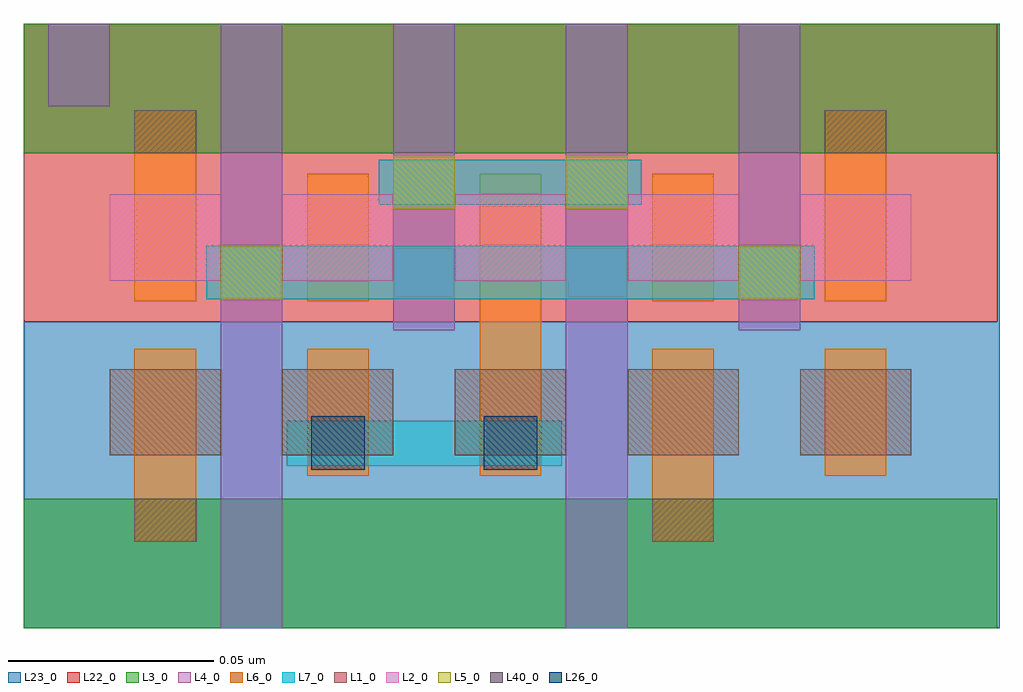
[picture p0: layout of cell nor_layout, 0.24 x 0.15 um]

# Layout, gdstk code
import gdstk
lib = gdstk.Library(unit=1e-6, precision=2.5e-10)
def R(c, l, rs):  # rectangles x0, y0, x1, y1
    for r in rs: c.add(gdstk.rectangle(r[:2], r[2:], *l))
def A(c, l, x, y, w, h, nx, ny, dx, dy):  # array of equal rectangles
    R(c, l, [(x+i*dx, y+j*dy, x+i*dx+w, y+j*dy+h) for i in range(nx) for j in range(ny)])
def P(c, l, *ps):  # polygons
    for p in ps: c.add(gdstk.Polygon(p, *l))
L1_0 = (1, 0)
L2_0 = (2, 0)
L3_0 = (3, 0)
L4_0 = (4, 0)
L5_0 = (5, 0)
L6_0 = (6, 0)
L7_0 = (7, 0)
L22_0 = (22, 0)
L23_0 = (23, 0)
L26_0 = (26, 0)
L40_0 = (40, 0)

nor_layout = lib.new_cell('nor_layout')
A(nor_layout, L1_0, 0.001, 0.099, 0.027, 0.021, 5, 1, 0.042, 0)
A(nor_layout, L2_0, 0.001, 0.1415, 0.027, 0.021, 5, 1, 0.042, 0)
R(nor_layout, L3_0, [(-0.02,0.057,0.217,0.0885), (-0.02,0.1725,0.2175,0.204)])
R(nor_layout, L4_0, [(0.028,0.057,0.043,0.204), (0.112,0.057,0.127,0.204), (0.07,0.1295,0.085,0.204), (0.154,0.1295,0.169,0.204), (-0.014,0.184,0.001,0.204)])
R(nor_layout, L5_0, [(0.028,0.137,0.043,0.15), (0.154,0.137,0.169,0.15), (0.07,0.159,0.085,0.172), (0.112,0.159,0.127,0.172)])
R(nor_layout, L6_0, [(0.007,0.078,0.022,0.125), (0.133,0.078,0.148,0.125), (0.049,0.094,0.064,0.125), (0.091,0.094,0.106,0.1675), (0.175,0.094,0.19,0.125), (0.007,0.1365,0.022,0.183), (0.049,0.1365,0.064,0.1675), (0.133,0.1365,0.148,0.1675), (0.175,0.1365,0.19,0.183)])
R(nor_layout, L7_0, [(0.044,0.0965,0.111,0.1075), (0.0245,0.137,0.1725,0.15), (0.0665,0.16,0.1305,0.171)])
R(nor_layout, L22_0, [(-0.02,0.1315,0.217,0.204)])
P(nor_layout, L23_0, [(0.2175,0.204),(0.2175,0.057),(-0.02,0.057),(-0.02,0.1315),(0.217,0.1315),(0.217,0.204)])
R(nor_layout, L26_0, [(0.05,0.0955,0.063,0.1085), (0.092,0.0955,0.105,0.1085)])
R(nor_layout, L40_0, [(0.007,0.078,0.022,0.0885), (0.133,0.078,0.148,0.0885), (0.007,0.1725,0.022,0.183), (0.175,0.1725,0.19,0.183)])

lib.write_gds('nor_layout.gds')
